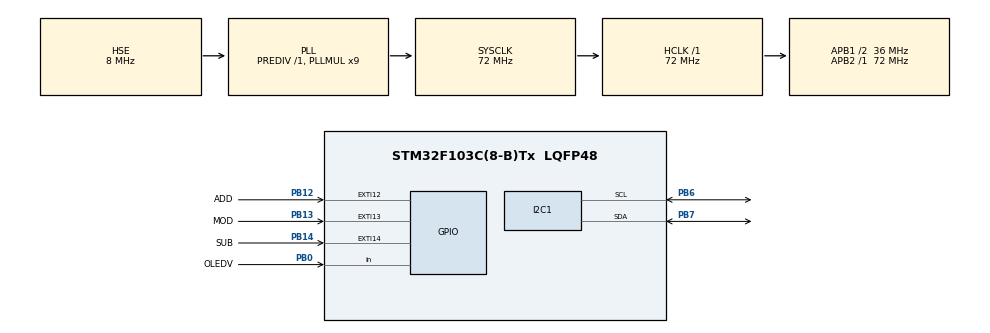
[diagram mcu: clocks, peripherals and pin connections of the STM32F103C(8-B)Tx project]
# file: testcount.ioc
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I2C1.I2C_Mode=I2C_Fast
Mcu.Family=STM32F1
Mcu.Name=STM32F103C(8-B)Tx
Mcu.Package=LQFP48
NVIC.EXTI15_10_IRQn=true\:2\:0\:true\:false\:true\:true\:true\:true
NVIC.PriorityGroup=NVIC_PRIORITYGROUP_4
NVIC.RTC_Alarm_IRQn=true\:1\:0\:true\:false\:true\:true\:true\:true
NVIC.TIM4_IRQn=true\:15\:0\:false\:false\:true\:false\:true\:true
NVIC.TimeBase=TIM4_IRQn
NVIC.TimeBaseIP=TIM4
PA13.Mode=Serial_Wire
PA13.Signal=SYS_JTMS-SWDIO
PA14.Mode=Serial_Wire
PA14.Signal=SYS_JTCK-SWCLK
PB0.GPIO_Label=OLEDV
PB0.Signal=GPIO_Input
PB12.GPIO_Label=ADD
PB12.GPIO_ModeDefaultEXTI=GPIO_MODE_IT_FALLING
PB12.Signal=GPXTI12
PB13.GPIO_Label=MOD
PB13.GPIO_ModeDefaultEXTI=GPIO_MODE_IT_FALLING
PB13.Signal=GPXTI13
PB14.GPIO_Label=SUB
PB14.GPIO_ModeDefaultEXTI=GPIO_MODE_IT_FALLING
PB14.Signal=GPXTI14
PB6.Mode=I2C
PB6.Signal=I2C1_SCL
PB7.Mode=I2C
PB7.Signal=I2C1_SDA
PC14-OSC32_IN.Mode=LSE-External-Oscillator
PC14-OSC32_IN.Signal=RCC_OSC32_IN
PC15-OSC32_OUT.Mode=LSE-External-Oscillator
PC15-OSC32_OUT.Signal=RCC_OSC32_OUT
PD0-OSC_IN.Mode=HSE-External-Oscillator
PD0-OSC_IN.Signal=RCC_OSC_IN
PD1-OSC_OUT.Mode=HSE-External-Oscillator
PD1-OSC_OUT.Signal=RCC_OSC_OUT
ProjectManager.HeapSize=0x200
ProjectManager.StackSize=0x400
ProjectManager.TargetToolchain=STM32CubeIDE
RCC.AHBFreq_Value=72000000
RCC.APB1CLKDivider=RCC_HCLK_DIV2
RCC.APB1Freq_Value=36000000
RCC.APB1TimFreq_Value=72000000
RCC.APB2Freq_Value=72000000
RCC.APB2TimFreq_Value=72000000
RCC.HCLKFreq_Value=72000000
RCC.PLLMUL=RCC_PLL_MUL9
RCC.PLLSourceVirtual=RCC_PLLSOURCE_HSE
RCC.RTCClockSelection=RCC_RTCCLKSOURCE_LSE
RCC.SYSCLKFreq_VALUE=72000000
RCC.SYSCLKSource=RCC_SYSCLKSOURCE_PLLCLK
RCC.USBFreq_Value=72000000
VP_RTC_VS_RTC_Activate.Mode=RTC_Enabled
VP_SYS_VS_tim4.Mode=TIM4
board=custom

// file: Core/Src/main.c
/* USER CODE BEGIN Header */
/**
  ******************************************************************************
  * @file           : main.c
  * @brief          : Main program body
  ******************************************************************************
  * @attention
  *
  * Copyright (c) 2025 STMicroelectronics.
  * All rights reserved.
  *
  * This software is licensed under terms that can be found in the LICENSE file
  * in the root directory of this software component.
  * If no LICENSE file comes with this software, it is provided AS-IS.
  *
  ******************************************************************************
  */
/* USER CODE END Header */
#include "main.h"
#include "i2c.h"
#include "rtc.h"
#include "gpio.h"

/* USER CODE BEGIN Includes */
#include <oled.h>
#include <font.h>
#include "button.h"
#include "calendar.h"
#include "timestamp_flash.h"
/* USER CODE END Includes */

/* USER CODE BEGIN PD */
// 时间分阶局部刷新区域参数（font16x16 的 ASCII 子字库 afont24x12：每字12px宽、24px高）
#define TIME_REF_PAGE   2  // 局部刷新起始页（0起始，按当前设定2-4页）
#define TIME_REF_PAGES  3  // 局部刷新页数
#define TIME_SEC_COL    92 // 秒数字起始列（SS 两字 → 列92-115）
#define TIME_SEC_LEN    24 // 秒区域列长度
#define TIME_MS_COL     56 // 分+秒区域起始列（MM:SS 五字 → 列56-115）
#define TIME_MS_LEN     60 // 分+秒区域列长度

// 考研模式布局（时间左对齐，右侧留空给剩余天数）
#define TIME_EXAM_COL     2   // 考研模式时间起始列（HH:MM:SS → 列2-97）
#define TIME_EXAM_SEC_COL 74  // 考研模式秒区域起始列（SS → 列74-97）
#define TIME_EXAM_MS_COL  38  // 考研模式分+秒区域起始列（MM:SS → 列38-97）
#define EXAM_DAY_RIGHT    127 // 剩余天数右对齐右侧列（0起始，屏幕宽128）

/* USER CODE END PD */

/* USER CODE BEGIN PV */
uint8_t OLEDV = 0;
uint8_t mod = 0;
uint8_t key_changed = 0;  // 按键改动标志
extern volatile uint32_t rtc_total_seconds;  // 定义在 rtc.c（闹钟回调自增），主循环差值驱动日历

uint8_t exam_mode = 1;  // 考研模式开关：1=启用 0=关闭（直接改此变量即可切换）
// 考研目标时间戳：2026-12-19 00:00:00。日历内部为墙钟时间戳（date_to_timestamp 无时区解释），
// 故取与设备一致的无时区数值 1797638400；若日后改用真实 UTC+8 时间戳则为 1797609600
uint32_t exam_target_ts = 1797638400UL;

uint32_t last_rtc_seconds = 0;  // 上次RTC秒数
uint32_t last_key_rtc_seconds = 0;  // 最近一次按键事件对应的累计秒数（控制STOP进入，主循环逻辑，非按键逻辑）
extern TIM_HandleTypeDef htim4;  // 系统滴答由 TIM4 维护，STOP 前后需手动管理
static uint8_t last_draw_hour = 0xFF;   // 最近一次全量刷新的小时（整点全量刷新判定）
static uint8_t last_draw_minute = 0xFF; // 最近一次刷新（含局部）的分钟（整分局部刷新判定）
static uint8_t last_ts_hour = 0xFF;     // 最近一次写入备份区的小时（每小时写一次时间戳判定）
/* USER CODE END PV */

void SystemClock_Config(void);
/* USER CODE BEGIN PFP */
void SystemClock_ResetPLL(void);  // STOP 唤醒后轻量恢复，不重配 RTC（用户代码，防被重生成清掉）
void Display_FullRefresh(void);   // 全量重绘整帧并整屏刷新（开机/整点/按键改动时调用）
void Display_DrawExamDays(void);  // 绘制考研剩余天数（右对齐：xx 一行 + day 一行）
/* USER CODE END PFP */

int main(void)
{

  /* MCU Configuration--------------------------------------------------------*/

  /* Reset of all peripherals, Initializes the Flash interface and the Systick. */
  HAL_Init();

  /* Configure the system clock */
  SystemClock_Config();

  /* Initialize all configured peripherals */
  MX_GPIO_Init();
  MX_I2C1_Init();
  MX_RTC_Init();
  /* USER CODE BEGIN 2 */

  TS_Init();// 初始化时间戳存储库
  Calendar_Init();
  OLED_Init();
  RTC_Alarm_Config(&hrtc);  /* 一次性配置闹钟中断+EXTI17并以闹钟启动 1 秒心跳 */
  Display_FullRefresh();    /* 开机整帧绘制+整屏刷新，建立基础画布 */
  last_draw_hour = calendar.hour;
  last_draw_minute = calendar.minute;
  last_ts_hour = calendar.hour;  // 备份小时基准：当前小时不再写，下个整点才写

  /* USER CODE END 2 */

  /* Infinite loop */
  while (1)
  {

    /* USER CODE BEGIN 3 */

    if (HAL_GPIO_ReadPin(GPIOB, GPIO_PIN_0) == GPIO_PIN_SET ) {
      if(OLEDV == 0){
        HAL_Delay(20);
        if(HAL_GPIO_ReadPin(GPIOB, GPIO_PIN_0) == GPIO_PIN_SET){
          OLED_Init();
          OLEDV = 1;
          key_changed = 1;  // 初始化后强制立即刷新一次
        }
      }
    }
    else if(OLEDV == 1){
    OLEDV = 0;
    }

    // 1. 判断按键事件（EXTI 中断置位 key_event，主循环消抖处理后清零）
    if (key_event)
    {
      last_key_rtc_seconds = rtc_total_seconds;  // 记录最近按键时刻，控制 STOP 进入条件

      HAL_Delay(20);  // 消抖

      if ((key_event & KEY_ADD) && (HAL_GPIO_ReadPin(BUTTON_PORT, ADD_PIN) == DOWN_STATE))
      {
        if (mod != 0) {
          Calendar_ChangeTime(mod, 1);
          key_changed = 1;
        }
      }
      if ((key_event & KEY_SW) && (HAL_GPIO_ReadPin(BUTTON_PORT, SW_PIN) == DOWN_STATE))
      {
        mod++;
        if(mod > 6) mod = 0;
        key_changed = 1;
      }
      if ((key_event & KEY_SUB) && (HAL_GPIO_ReadPin(BUTTON_PORT, SUB_PIN) == DOWN_STATE))
      {
        if (mod != 0) {
          Calendar_ChangeTime(mod, -1);
          key_changed = 1;
        }
      }

      key_event = 0;  // 清除按键事件
    }

    // 2. 计算秒数差值和判断按键改动标志，刷新屏幕
    uint32_t elapsed_seconds = rtc_total_seconds - last_rtc_seconds;

    // 3. 如果超过1秒或按键改动，刷新屏幕
    if(elapsed_seconds >= 1 || key_changed)
    {
      // 更新时间
      if(elapsed_seconds >= 1) {
        for(uint32_t i = 0; i < elapsed_seconds; i++) {
          Calendar_Increment();
        }
        last_rtc_seconds = rtc_total_seconds;
      }

      // 刷新屏幕（分阶局部覆盖+局部刷新：每秒仅覆盖秒区域，每分覆盖分+秒区域，整点/按键全量）
      if(OLEDV) {
        if(key_changed || (calendar.hour != last_draw_hour)) {
          // ===== 全量：重建基础画布并整屏刷新（开机/整点/按键改动） =====
          Display_FullRefresh();
          last_draw_hour = calendar.hour;
          last_draw_minute = calendar.minute;
        }
        else if(calendar.minute != last_draw_minute) {
          // ===== 整分：覆盖分+秒区域（MM:SS，含中间冒号）并局部刷新 =====
          uint8_t ms_col = exam_mode ? TIME_EXAM_MS_COL : TIME_MS_COL;
          OLED_PrintString(ms_col, 14, Calendar_Gettimestr() + 3, &font16x16, OLED_COLOR_NORMAL);
          OLED_ShowFrameRegion(ms_col, TIME_REF_PAGE, TIME_MS_LEN, TIME_REF_PAGES);
          last_draw_minute = calendar.minute;
        }
        else {
          // ===== 每秒：覆盖秒区域（SS）并局部刷新 =====
          uint8_t sec_col = exam_mode ? TIME_EXAM_SEC_COL : TIME_SEC_COL;
          OLED_PrintString(sec_col, 14, Calendar_Gettimestr() + 6, &font16x16, OLED_COLOR_NORMAL);
          OLED_ShowFrameRegion(sec_col, TIME_REF_PAGE, TIME_SEC_LEN, TIME_REF_PAGES);
        }
      }

      // 清除按键标志
      key_changed = 0;
    }

    // 4. 每小时写一次时间戳到备份区：小时变更即写，掉电后用于恢复时间/估算供电时长。
    //    写满后库内部自动整页擦除重来，正常使用无需理会。放在 STOP 决策之前执行。
    if (calendar.hour != last_ts_hour)
    {
      last_ts_hour = calendar.hour;  // 无论写成败都推进基准，避免每秒重试
      TS_Write(calendar.timestamp);
    }

    // 距上次按键中断不足 5 秒时保持运行（短延时快速响应连续按键），超过才进入 STOP
    if ((rtc_total_seconds - last_key_rtc_seconds) >= 5U)
    {
      // 降功耗：挂起系统滴答后进入 STOP，由 RTC 闹钟中断(EXTI17)每秒唤醒
      // 1. 收尾：屏蔽并清除 TIM4 滴答中断，避免残留更新事件让 WFI 立即返回无法真正入睡
      __HAL_TIM_DISABLE_IT(&htim4, TIM_IT_UPDATE);
      __HAL_TIM_CLEAR_IT(&htim4, TIM_IT_UPDATE);
      HAL_NVIC_ClearPendingIRQ(TIM4_IRQn);

      // 2. 进入 STOP：主稳压器工作（无额外唤醒延时）；唤醒后系统时钟默认为 HSI(8MHz)
      HAL_PWR_EnterSTOPMode(PWR_MAINREGULATOR_ON, PWR_STOPENTRY_WFI);

      // 3. STOP 唤醒后恢复 HSE+PLL 72MHz（不重配 RTC，避免闹钟心跳掉拍）
      SystemClock_ResetPLL();

      // 4. 恢复系统滴答（TIM4），保证后续 HAL_Delay 消抖等正常
      __HAL_TIM_CLEAR_IT(&htim4, TIM_IT_UPDATE);
      HAL_NVIC_ClearPendingIRQ(TIM4_IRQn);
      __HAL_TIM_ENABLE_IT(&htim4, TIM_IT_UPDATE);
    }
    else
    {
      // 距上次按键不足 5 秒：保持短延时运行，保证一组连续按键操作不被打断
      HAL_Delay(10);
    }
  }

  /* USER CODE END 3 */
}

void SystemClock_Config(void)
{
  RCC_OscInitTypeDef RCC_OscInitStruct = {0};
  RCC_ClkInitTypeDef RCC_ClkInitStruct = {0};
  RCC_PeriphCLKInitTypeDef PeriphClkInit = {0};

  /** Initializes the RCC Oscillators according to the specified parameters
  * in the RCC_OscInitTypeDef structure.
  */
  RCC_OscInitStruct.OscillatorType = RCC_OSCILLATORTYPE_HSE|RCC_OSCILLATORTYPE_LSE;
  RCC_OscInitStruct.HSEState = RCC_HSE_ON;
  RCC_OscInitStruct.HSEPredivValue = RCC_HSE_PREDIV_DIV1;
  RCC_OscInitStruct.LSEState = RCC_LSE_ON;
  RCC_OscInitStruct.HSIState = RCC_HSI_ON;
  RCC_OscInitStruct.PLL.PLLState = RCC_PLL_ON;
  RCC_OscInitStruct.PLL.PLLSource = RCC_PLLSOURCE_HSE;
  RCC_OscInitStruct.PLL.PLLMUL = RCC_PLL_MUL9;
  if (HAL_RCC_OscConfig(&RCC_OscInitStruct) != HAL_OK)
  {
    Error_Handler();
  }

  /** Initializes the CPU, AHB and APB buses clocks
  */
  RCC_ClkInitStruct.ClockType = RCC_CLOCKTYPE_HCLK|RCC_CLOCKTYPE_SYSCLK
                              |RCC_CLOCKTYPE_PCLK1|RCC_CLOCKTYPE_PCLK2;
  RCC_ClkInitStruct.SYSCLKSource = RCC_SYSCLKSOURCE_PLLCLK;
  RCC_ClkInitStruct.AHBCLKDivider = RCC_SYSCLK_DIV1;
  RCC_ClkInitStruct.APB1CLKDivider = RCC_HCLK_DIV2;
  RCC_ClkInitStruct.APB2CLKDivider = RCC_HCLK_DIV1;

  if (HAL_RCC_ClockConfig(&RCC_ClkInitStruct, FLASH_LATENCY_2) != HAL_OK)
  {
    Error_Handler();
  }
  PeriphClkInit.PeriphClockSelection = RCC_PERIPHCLK_RTC;
  PeriphClkInit.RTCClockSelection = RCC_RTCCLKSOURCE_LSE;
  if (HAL_RCCEx_PeriphCLKConfig(&PeriphClkInit) != HAL_OK)
  {
    Error_Handler();
  }
}

/* USER CODE BEGIN 4 */
/**
  * @brief  STOP 唤醒后的轻量时钟恢复：仅恢复 HSE+PLL 72MHz、CPU/总线分频与 FLASH 等待。
  * @note   刻意不调用完整 SystemClock_Config()，避免每次唤醒重配 RTC 时钟源(LSI)——那会
  *         扰动 RTC 计数/闹钟对齐，导致 1 秒心跳掉拍成约 2 秒。唤醒后系统时钟默认已是 HSI。
  *         放到 USER CODE 区，避免 CubeMX 重新生成时被清除。
  * @retval None
  */
void SystemClock_ResetPLL(void)
{
  RCC_OscInitTypeDef RCC_OscInitStruct = {0};
  RCC_ClkInitTypeDef RCC_ClkInitStruct = {0};

  /* 重新使能 HSE 并回到 HSE+PLL(×9) 72MHz */
  RCC_OscInitStruct.OscillatorType = RCC_OSCILLATORTYPE_HSE;
  RCC_OscInitStruct.HSEState = RCC_HSE_ON;
  RCC_OscInitStruct.HSEPredivValue = RCC_HSE_PREDIV_DIV1;
  RCC_OscInitStruct.PLL.PLLState = RCC_PLL_ON;
  RCC_OscInitStruct.PLL.PLLSource = RCC_PLLSOURCE_HSE;
  RCC_OscInitStruct.PLL.PLLMUL = RCC_PLL_MUL9;
  if (HAL_RCC_OscConfig(&RCC_OscInitStruct) != HAL_OK)
  {
    Error_Handler();
  }

  /* CPU/AHB/APB 分频与 FLASH 等待；HAL_RCC_ClockConfig 内部会重建 TIM4 滴答 */
  RCC_ClkInitStruct.ClockType = RCC_CLOCKTYPE_HCLK|RCC_CLOCKTYPE_SYSCLK
                              |RCC_CLOCKTYPE_PCLK1|RCC_CLOCKTYPE_PCLK2;
  RCC_ClkInitStruct.SYSCLKSource = RCC_SYSCLKSOURCE_PLLCLK;
  RCC_ClkInitStruct.AHBCLKDivider = RCC_SYSCLK_DIV1;
  RCC_ClkInitStruct.APB1CLKDivider = RCC_HCLK_DIV2;
  RCC_ClkInitStruct.APB2CLKDivider = RCC_HCLK_DIV1;
  if (HAL_RCC_ClockConfig(&RCC_ClkInitStruct, FLASH_LATENCY_2) != HAL_OK)
  {
    Error_Handler();
  }
}

/**
  * @brief  全量重绘整帧并整屏刷新，用于建立/重建基础画布
  * @note   在开机初始化、整点切换、按键改动（含OLED重新上电）时调用；
  *         平时每秒/每分仅做局部覆盖与局部刷新，其余区域保持基础画布不变
  * @retval None
  */
void Display_FullRefresh(void)
{
  // 到达/超过考研目标时间：退出考研模式恢复普通布局。
  // OLED_NewFrame() 会把整帧清成全黑，本次刷新即按正常模式（居中时间、无天数）整帧重建，无需手动涂黑
  if (exam_mode && calendar.timestamp >= exam_target_ts) {
    exam_mode = 0;
  }

  OLED_NewFrame();
  OLED_PrintString(2, 0, Calendar_Getdatestr(), &font15x15, OLED_COLOR_NORMAL); // 日期显示
  OLED_PrintString(100, 0, Calendar_Getweek_daystr(), &font15x15, OLED_COLOR_NORMAL); // 星期显示

  if(exam_mode) {
    // 考研模式：时分秒左对齐，右侧空隙显示剩余天数（xx 一行 + day 一行）
    OLED_PrintString(TIME_EXAM_COL, 14, Calendar_Gettimestr(), &font16x16, OLED_COLOR_NORMAL);
    Display_DrawExamDays();
  }
  else {
    OLED_PrintString(20, 14, Calendar_Gettimestr(), &font16x16, OLED_COLOR_NORMAL); // 时间显示（居中）
  }

  // 闰字占用列2-16，考研模式时间左移后与该区域重叠，故不显示
  if(!exam_mode && Calendar_Get_lunar_moth_leap() != 0) {
    OLED_PrintString(2, 20, "闰", &font15x15, OLED_COLOR_NORMAL); // 闰字显示
  }
  OLED_PrintString(2, 38, Calendar_GetlunardateStr(), &font15x15, OLED_COLOR_NORMAL); // 农历显示
  OLED_PrintString(2, 53, Calendar_GetFourPillarStr(), &font12x12, OLED_COLOR_NORMAL); // 干支显示

  // 如果处于模式调整状态，绘制选择框
  if(mod) {
    switch(mod) {
      case 1: OLED_DrawRectangle(1, 0, 32, 16, OLED_COLOR_NORMAL); break;
      case 2: OLED_DrawRectangle(48, 0, 17, 16, OLED_COLOR_NORMAL); break;
      case 3: OLED_DrawRectangle(79, 0, 17, 16, OLED_COLOR_NORMAL); break;
      // 时间调整框（时分秒）跟随考研模式的左对齐布局整体左移18列
      case 4: OLED_DrawRectangle(exam_mode ? 0 : 18, 16, 27, 20, OLED_COLOR_NORMAL); break;
      case 5: OLED_DrawRectangle(exam_mode ? 36 : 54, 16, 27, 20, OLED_COLOR_NORMAL); break;
      case 6: OLED_DrawRectangle(exam_mode ? 72 : 90, 16, 27, 20, OLED_COLOR_NORMAL); break;
    }
  }

  OLED_ShowFrame();
}

/**
 * @brief  绘制考研剩余天数（右对齐：xx 一行 + day 一行，12×6 字号 afont12x6）
 * @note   天数 = (目标时间戳 - 当前时间戳) 向上取整到天；到达/超过目标后显示 0。
 *         天数字符串无前导零；"xx" 与 "day" 共用右对齐边 EXAM_DAY_RIGHT。
 *         天数仅在跨零点变化，由整点全量刷新覆盖，无需参与秒/分局部刷新。
 * @retval None
 */
void Display_DrawExamDays(void)
{
  uint32_t days;
  char num[6];
  uint8_t len = 0;

  if (calendar.timestamp >= exam_target_ts) {
    days = 0;
  }
  else {
    days = (exam_target_ts - calendar.timestamp + 86399UL) / 86400UL;  // 向上取整
  }

  // 十进制无前导零转换
  if (days == 0) {
    num[len++] = '0';
  }
  else {
    char tmp[6];
    uint8_t t = 0;
    while (days) {
      tmp[t++] = '0' + (uint8_t)(days % 10);
      days /= 10;
    }
    while (t) {
      num[len++] = tmp[--t];
    }
  }
  num[len] = '\0';

  // 右对齐：数字每字6px，末字右边落在 EXAM_DAY_RIGHT
  OLED_PrintASCIIString(EXAM_DAY_RIGHT + 1 - (uint8_t)(len * 6), 14, num, &afont12x6, OLED_COLOR_NORMAL);
  OLED_PrintASCIIString(EXAM_DAY_RIGHT + 1 - 18, 26, "day", &afont12x6, OLED_COLOR_NORMAL); // "day" 3字×6px
}

/* USER CODE END 4 */

void HAL_TIM_PeriodElapsedCallback(TIM_HandleTypeDef *htim)
{
  if (htim->Instance == TIM4)
  {
    HAL_IncTick();
  }
}

void Error_Handler(void)
{
  __disable_irq();
  while (1)
  {
  }
}
